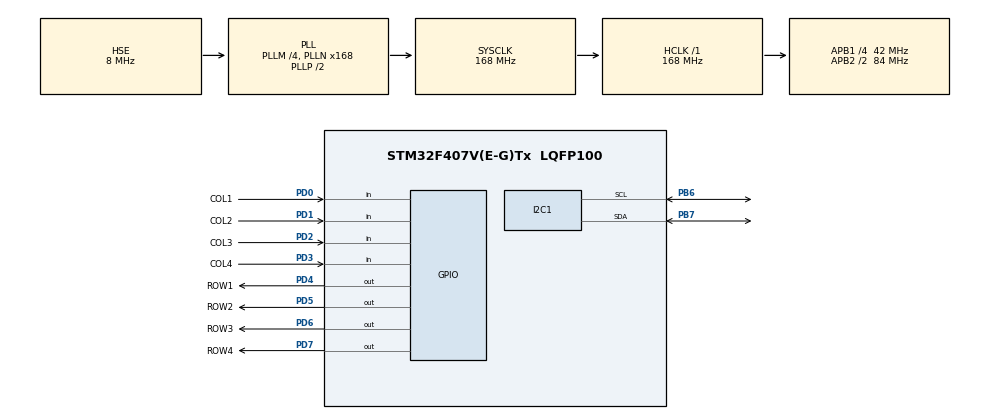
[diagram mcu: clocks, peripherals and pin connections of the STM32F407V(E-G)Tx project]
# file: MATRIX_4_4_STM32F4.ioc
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Mcu.Family=STM32F4
Mcu.Name=STM32F407V(E-G)Tx
Mcu.Package=LQFP100
NVIC.PriorityGroup=NVIC_PRIORITYGROUP_4
PA13.Mode=Serial_Wire
PA13.Signal=SYS_JTMS-SWDIO
PA14.Mode=Serial_Wire
PA14.Signal=SYS_JTCK-SWCLK
PB6.Mode=I2C
PB6.Signal=I2C1_SCL
PB7.Mode=I2C
PB7.Signal=I2C1_SDA
PD0.GPIO_Label=COL1
PD0.GPIO_PuPd=GPIO_PULLUP
PD0.Signal=GPIO_Input
PD1.GPIO_Label=COL2
PD1.GPIO_PuPd=GPIO_PULLUP
PD1.Signal=GPIO_Input
PD2.GPIO_Label=COL3
PD2.GPIO_PuPd=GPIO_PULLUP
PD2.Signal=GPIO_Input
PD3.GPIO_Label=COL4
PD3.GPIO_PuPd=GPIO_PULLUP
PD3.Signal=GPIO_Input
PD4.GPIO_Label=ROW1
PD4.PinState=GPIO_PIN_SET
PD4.Signal=GPIO_Output
PD5.GPIO_Label=ROW2
PD5.PinState=GPIO_PIN_SET
PD5.Signal=GPIO_Output
PD6.GPIO_Label=ROW3
PD6.PinState=GPIO_PIN_SET
PD6.Signal=GPIO_Output
PD7.GPIO_Label=ROW4
PD7.PinState=GPIO_PIN_SET
PD7.Signal=GPIO_Output
PH0-OSC_IN.Mode=HSE-External-Oscillator
PH0-OSC_IN.Signal=RCC_OSC_IN
PH1-OSC_OUT.Mode=HSE-External-Oscillator
PH1-OSC_OUT.Signal=RCC_OSC_OUT
ProjectManager.HeapSize=0x200
ProjectManager.StackSize=0x400
ProjectManager.TargetToolchain=MDK-ARM V5.32
RCC.48MHZClocksFreq_Value=84000000
RCC.AHBFreq_Value=168000000
RCC.APB1CLKDivider=RCC_HCLK_DIV4
RCC.APB1Freq_Value=42000000
RCC.APB1TimFreq_Value=84000000
RCC.APB2CLKDivider=RCC_HCLK_DIV2
RCC.APB2Freq_Value=84000000
RCC.APB2TimFreq_Value=168000000
RCC.CortexFreq_Value=168000000
RCC.HCLKFreq_Value=168000000
RCC.HSE_VALUE=8000000
RCC.HSI_VALUE=16000000
RCC.LSE_VALUE=32768
RCC.PLLM=4
RCC.PLLN=168
RCC.PLLSourceVirtual=RCC_PLLSOURCE_HSE
RCC.SYSCLKFreq_VALUE=168000000
RCC.SYSCLKSource=RCC_SYSCLKSOURCE_PLLCLK
RCC.VCOOutputFreq_Value=336000000
board=custom

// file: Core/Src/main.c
/* USER CODE BEGIN Header */
/**
  ******************************************************************************
  * @file           : main.c
  * @brief          : Main program body
  ******************************************************************************
  * @attention
  *
  * Copyright (c) 2023 STMicroelectronics.
  * All rights reserved.
  *
  * This software is licensed under terms that can be found in the LICENSE file
  * in the root directory of this software component.
  * If no LICENSE file comes with this software, it is provided AS-IS.
  *
  ******************************************************************************
  */
/* USER CODE END Header */
#include "main.h"
#include "i2c.h"
#include "gpio.h"

/* USER CODE BEGIN Includes */
#include "stdio.h"
#include "i2c-lcd.h"
#include "keypad44.h"
/* USER CODE END Includes */

/* USER CODE BEGIN PV */
char key;
int mode = 0;
int so[5] = {48};
int number;
int dem = 0;
int matrix_col, matrix_row;  //debug printf LCD

/* USER CODE END PV */

void SystemClock_Config(void);

/* USER CODE BEGIN 0 */
GPIO_TypeDef* row_port[4] = {ROW1_GPIO_Port, ROW2_GPIO_Port, ROW3_GPIO_Port, ROW4_GPIO_Port};
GPIO_TypeDef* col_port[4] = {COL1_GPIO_Port, COL2_GPIO_Port, COL3_GPIO_Port, COL4_GPIO_Port};

char row_pin[4] = {ROW1_Pin, ROW2_Pin, ROW3_Pin, ROW4_Pin};
char col_pin[4] = {COL1_Pin, COL2_Pin, COL3_Pin, COL4_Pin};

char scan_key()
{
	char keys[4][4] =
	{
		{'1', '2', '3', 'A'},
		{'4', '5', '6', 'B'},
		{'7', '8', '9', 'C'},
		{'*', '0', '#', 'D'},
	};
	for (int row = 0; row < 4; row ++) //quet hang
	{
		HAL_GPIO_WritePin(row_port[row], row_pin[row], GPIO_PIN_RESET);
		for (int col = 0; col < 4; col ++) //quet cot
		{
			if (!HAL_GPIO_ReadPin(col_port[col],col_pin[col]))
			{
					HAL_Delay(20);
					while(!HAL_GPIO_ReadPin(col_port[col],col_pin[col])){} // cho tha phim
					HAL_GPIO_WritePin(row_port[row], row_pin[row], GPIO_PIN_SET);
					matrix_row = row;  //debug printf LCD
					matrix_col = col;  //debug printf LCD
					return keys[row][col];
			}
		}
		HAL_GPIO_WritePin(row_port[row], row_pin[row], GPIO_PIN_SET);
	}
	return 0x20; // return ve khoang trang
}

void display_key(void)
{
		lcd_put_cur(0,0);
		lcd_send_string("Row : ");
		lcd_send_data(matrix_row + 48);

		lcd_put_cur(1,0);
		lcd_send_string("Col : ");
		lcd_send_data(matrix_col + 48);

		lcd_put_cur(2,0);
		lcd_send_string("Key :");
		lcd_send_data(key);

		lcd_put_cur(3,0);
		lcd_send_string("Key ASCII :");
		char buffer[20];
		sprintf(buffer,"0x%X - %d",key, key);
		lcd_send_string(buffer);
}
/* USER CODE END 0 */

int main(void)
{

  /* MCU Configuration--------------------------------------------------------*/

  /* Reset of all peripherals, Initializes the Flash interface and the Systick. */
  HAL_Init();

  /* Configure the system clock */
  SystemClock_Config();

  /* Initialize all configured peripherals */
  MX_GPIO_Init();
  MX_I2C1_Init();
  /* USER CODE BEGIN 2 */
	lcd_init();
  /* USER CODE END 2 */

  /* Infinite loop */
  while (1)
  {

    /* USER CODE BEGIN 3 */
		key = scan_key();

		if ((mode == 0) && (key == 'A')) //nhap 5 so:
		{
			mode = 1;
		}
		else if ((mode == 1) && (key == 'D')) // xac nhan da nhap xong
		{
			mode = 3;
		}
		else if (key == 'C') //xoa so, clear man hinh
		{
			mode = 2;
		}

		if (mode == 1) //nhap 5 so:
		{
			display_key();

			lcd_put_cur(0,10);
			lcd_send_string("Nhap 5 so:");

			lcd_put_cur(1,10);
			lcd_send_string("->:");
			lcd_put_cur(1,19 - dem);
			lcd_send_cmd (0x04); //Entry mode set --> I/D = 0 (increment cursor) & S = 0 (no shift)
			lcd_send_cmd (0x0F); //Display on/off control --> D = 1, C and B = 1. (Cursor and blink, last two bits)

			if ((key >= 48) && (key <=57)) //48 tuong ung '0', 57 tuong ung '9'
			{
				if (dem < 5)
				{
					so[dem] = key;
					lcd_send_data(key);
					dem ++;
					if (dem == 5)
					{
						mode = 3;  // xac nhan da nhap xong
					}
				}
			}
			lcd_send_cmd (0x06); //Entry mode set --> I/D = 0 (increment cursor) & S = 0 (no shift)
		}
		else if (mode == 2) //xoa so, clear man hinh
		{

			lcd_put_cur(2,10);
			lcd_send_string("Clear data!");
			HAL_Delay(600);
			for(int i = 0; i <5; i++)
			{
				so[i] = 48; // xoa ve so 0
			}
			mode = 0;
			dem = 0;
			number = 0;
			lcd_init();
		}
		else if (mode == 3) // xac nhan da nhap xong
		{
			lcd_put_cur(2,10);
			lcd_send_string("Done:");
			number = 	(so[4]-48)*10000 +
								(so[3]-48)*1000 +
								(so[2]-48)*100 +
								(so[1]-48)*10 +
								(so[0]-48);
			char buffer[20];
			sprintf(buffer,"%d",number);
			lcd_send_string(buffer);

			lcd_put_cur(1,14);
			lcd_send_cmd (0x0F); //Display on/off control --> D = 1, C and B = 1. (Cursor and blink, last two bits)
		}
		else
		{
			display_key();
		}

		HAL_Delay(50);
  }
  /* USER CODE END 3 */
}

void SystemClock_Config(void)
{
  RCC_OscInitTypeDef RCC_OscInitStruct = {0};
  RCC_ClkInitTypeDef RCC_ClkInitStruct = {0};

  /** Configure the main internal regulator output voltage
  */
  __HAL_RCC_PWR_CLK_ENABLE();
  __HAL_PWR_VOLTAGESCALING_CONFIG(PWR_REGULATOR_VOLTAGE_SCALE1);

  /** Initializes the RCC Oscillators according to the specified parameters
  * in the RCC_OscInitTypeDef structure.
  */
  RCC_OscInitStruct.OscillatorType = RCC_OSCILLATORTYPE_HSE;
  RCC_OscInitStruct.HSEState = RCC_HSE_ON;
  RCC_OscInitStruct.PLL.PLLState = RCC_PLL_ON;
  RCC_OscInitStruct.PLL.PLLSource = RCC_PLLSOURCE_HSE;
  RCC_OscInitStruct.PLL.PLLM = 4;
  RCC_OscInitStruct.PLL.PLLN = 168;
  RCC_OscInitStruct.PLL.PLLP = RCC_PLLP_DIV2;
  RCC_OscInitStruct.PLL.PLLQ = 4;
  if (HAL_RCC_OscConfig(&RCC_OscInitStruct) != HAL_OK)
  {
    Error_Handler();
  }

  /** Initializes the CPU, AHB and APB buses clocks
  */
  RCC_ClkInitStruct.ClockType = RCC_CLOCKTYPE_HCLK|RCC_CLOCKTYPE_SYSCLK
                              |RCC_CLOCKTYPE_PCLK1|RCC_CLOCKTYPE_PCLK2;
  RCC_ClkInitStruct.SYSCLKSource = RCC_SYSCLKSOURCE_PLLCLK;
  RCC_ClkInitStruct.AHBCLKDivider = RCC_SYSCLK_DIV1;
  RCC_ClkInitStruct.APB1CLKDivider = RCC_HCLK_DIV4;
  RCC_ClkInitStruct.APB2CLKDivider = RCC_HCLK_DIV2;

  if (HAL_RCC_ClockConfig(&RCC_ClkInitStruct, FLASH_LATENCY_5) != HAL_OK)
  {
    Error_Handler();
  }
}

void Error_Handler(void)
{
  __disable_irq();
  while (1)
  {
  }
}
